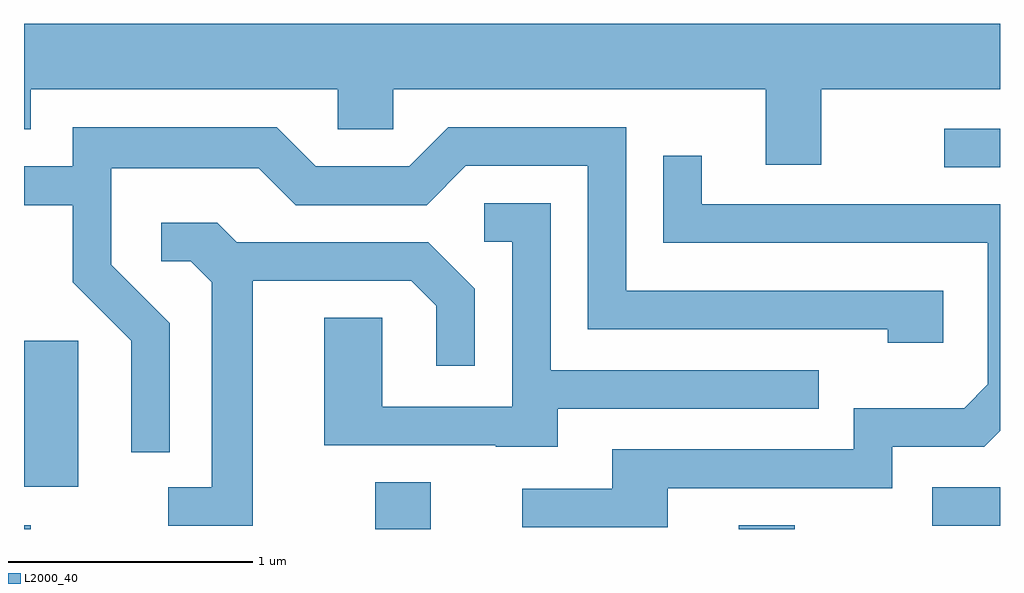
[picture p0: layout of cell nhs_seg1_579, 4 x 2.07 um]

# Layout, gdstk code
import gdstk
lib = gdstk.Library(unit=1e-6, precision=1e-09)
def R(c, l, rs):  # rectangles x0, y0, x1, y1
    for r in rs: c.add(gdstk.rectangle(r[:2], r[2:], *l))
def P(c, l, *ps):  # polygons
    for p in ps: c.add(gdstk.Polygon(p, *l))
L2000_40 = (2000, 40)

nhs_seg1_579 = lib.new_cell('nhs_seg1_579')
R(nhs_seg1_579, L2000_40, [(201.611,957.712,201.639,957.729), (203.051,957.712,203.279,957.904), (204.541,957.712,204.769,957.729), (205.333,957.726,205.611,957.884), (201.611,957.886,201.834,958.484), (205.383,959.196,205.611,959.354)])
P(nhs_seg1_579, L2000_40, [(204.879,959.516),(205.611,959.516),(205.611,959.784),(201.611,959.784),(201.611,959.351),(201.639,959.351),(201.639,959.516),(202.896,959.516),(202.896,959.351),(203.124,959.351),(203.124,959.516),(204.651,959.516),(204.651,959.206),(204.879,959.206)],
  [(202.209,958.557),(201.969,958.797),(201.969,959.191),(202.574,959.191),(202.724,959.041),(203.262,959.041),(203.422,959.201),(203.921,959.201),(203.921,958.531),(205.151,958.531),(205.151,958.476),(205.379,958.476),(205.379,958.689),(204.079,958.689),(204.079,959.359),(203.349,959.359),(203.189,959.199),(202.807,959.199),(202.647,959.359),(201.811,959.359),(201.811,959.199),(201.611,959.199),(201.611,959.041),(201.811,959.041),(201.811,958.724),(202.051,958.484),(202.051,958.028),(202.209,958.028)],
  [(204.249,957.881),(205.169,957.881),(205.169,958.051),(205.547,958.051),(205.611,958.115),(205.611,959.044),(204.389,959.044),(204.389,959.243),(204.231,959.243),(204.231,958.886),(205.561,958.886),(205.561,958.307),(205.464,958.209),(205.011,958.209),(205.011,958.039),(204.021,958.039),(204.021,957.879),(203.653,957.879),(203.653,957.721),(204.249,957.721)],
  [(203.799,958.206),(204.868,958.206),(204.868,958.364),(203.769,958.364),(203.769,959.049),(203.498,959.049),(203.498,958.891),(203.611,958.891),(203.611,958.214),(203.079,958.214),(203.079,958.579),(202.841,958.579),(202.841,958.056),(203.545,958.056),(203.545,958.051),(203.799,958.051)],
  [(202.549,958.731),(203.199,958.731),(203.301,958.629),(203.301,958.383),(203.459,958.383),(203.459,958.697),(203.267,958.889),(202.482,958.889),(202.402,958.969),(202.173,958.969),(202.173,958.811),(202.294,958.811),(202.381,958.724),(202.381,957.884),(202.203,957.884),(202.203,957.726),(202.549,957.726)])

lib.write_gds('nhs_seg1_579.gds')
